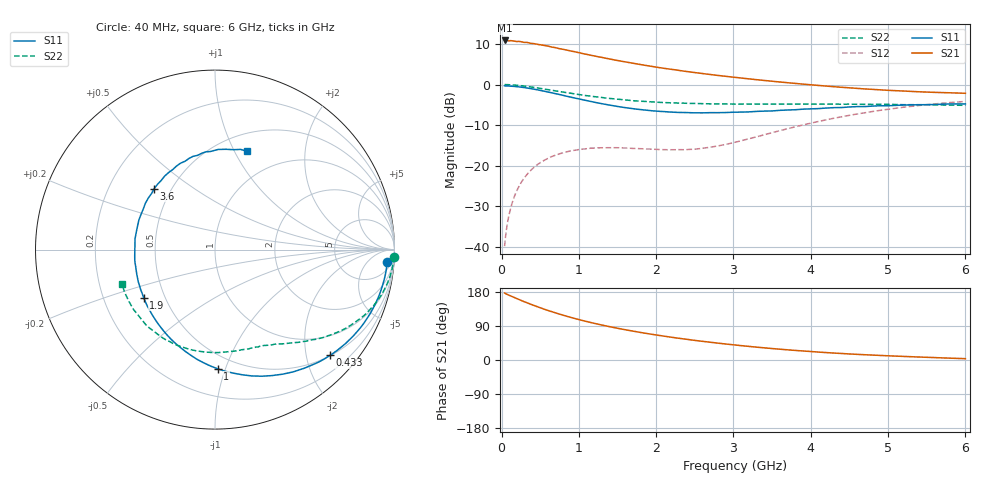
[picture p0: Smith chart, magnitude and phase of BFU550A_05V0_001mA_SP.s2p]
! Filename:  P:\Prog\Test\Noise\ATS_data\Testdata_Net\03 Spar\BFU550A_APG2013_35_C05_05p0V_001mA_SP_CM01_D.s2p
! Date/Time: Tue 16/Apr/2013 15:10:17
! BFU550A_APG2013_35_C05_05p0V_1to35mA_SP_CM01_Bias1_R.s2p
! MDIF S-parameter v. bias file
! BFU550A_APG2013_35_C05_05p0V_1to35mA_SP_CM01
! Date/time Mon Apr 15 15:41:37 2013
! bias mode 1
! bias variable = I_out
! VAR bias_var= 1
! VAR V_out= 5.0010
! VAR I_out= 1.0000
! VAR V_in= 0.7830
! VAR I_in= 0.0103
! Device data file deembeded for feedlines and parallel
! Original file: \03 Spar\BFU550A_APG2013_35_C05_05p0V_001mA_SP_CM01_R.s2p
! Feed-files: PR017V01_150413_Feed1.s2p, PR017V01_150413_Feed2.s2p
! Parallel-file: PR017V01_150413_Par.s2p
# MHz S MA R 50
!  Freq-MHz  S11-mag  S11-arg  S21-mag  S21-arg  S12-mag  S12-arg  S22-mag  S22-arg
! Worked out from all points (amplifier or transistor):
!   98 points, 40 MHz to 6 GHz, reference 50 ohm
!   highest |S21| = 10.9 dB at 40 MHz (marker M1)
!   |S21| within 3 dB of that: start of sweep to 996.4 MHz
!   unconditionally stable (mu >= 1): 2.334 GHz to 2.997 GHz
!   at 300 MHz: K = 0.14, MSG = 16.7 dB, |S12| = -22.9 dB
!   at 1.6 GHz: K = 0.69, MSG = 10.6 dB, |S12| = -15.7 dB
!   at 6 GHz: K = 0.90, MSG = 1.0 dB, |S12| = -4.2 dB
!   S11 on the Smith chart (normalised r, x): 40 MHz: 12, -22; 433 MHz: 0.51, -2.48; 1 GHz: 0.40, -0.94; 1.9 GHz: 0.38, -0.26; 3.6 GHz: 0.40, +0.36; 6 GHz: 0.68, +1.12
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40  0.9634 -4.0  3.497 176.6  0.01012 87.6  0.9978 -2.3
80  0.9595 -8.2  3.487 172.5  0.02031 84.5  0.9956 -4.5
160  0.9481 -16.2  3.443 165.3  0.03999 79.2  0.9858 -9.0
240  0.9303 -24.2  3.396 158.4  0.05849 74.3  0.9696 -13.2
320  0.9084 -32.0  3.312 151.8  0.07565 69.6  0.9495 -17.3
433  0.8708 -42.5  3.176 142.9  0.09722 63.5  0.9176 -22.4
550  0.8271 -53.1  3.039 134.3  0.1157 57.6  0.8798 -27.3
700  0.7703 -65.7  2.847 124.2  0.1344 51.3  0.8343 -32.8
850  0.7145 -77.6  2.65 115.0  0.1482 46.0  0.7909 -37.5
1000  0.6647 -88.7  2.471 106.8  0.1575 41.6  0.7529 -41.6
1050  0.6488 -92.3  2.41 104.1  0.1594 40.4  0.7396 -42.8
1250  0.5917 -106.1  2.201 94.5  0.1656 36.1  0.7009 -47.3
1450  0.5464 -119.0  2.02 85.8  0.1661 33.5  0.6661 -51.4
1700  0.5033 -134.3  1.831 76.2  0.1627 32.8  0.6305 -56.3
1900  0.4795 -146.1  1.699 69.3  0.1598 33.4  0.6142 -60.0
2050  0.466 -154.5  1.612 64.6  0.1575 35.3  0.6017 -62.5
2500  0.4471 -178.0  1.404 51.8  0.1592 44.7  0.5845 -71.1
3100  0.4566 154.3  1.203 37.9  0.2023 58.7  0.5735 -83.7
3600  0.48 135.0  1.075 28.6  0.2692 62.3  0.5735 -95.4
4100  0.5042 117.8  0.9739 20.9  0.35 59.7  0.5725 -108.2
5200  0.5584 88.2  0.8312 9.5  0.5246 45.0  0.5635 -137.8
6000  0.5763 72.0  0.7791 3.5  0.6181 32.3  0.5535 -159.8
